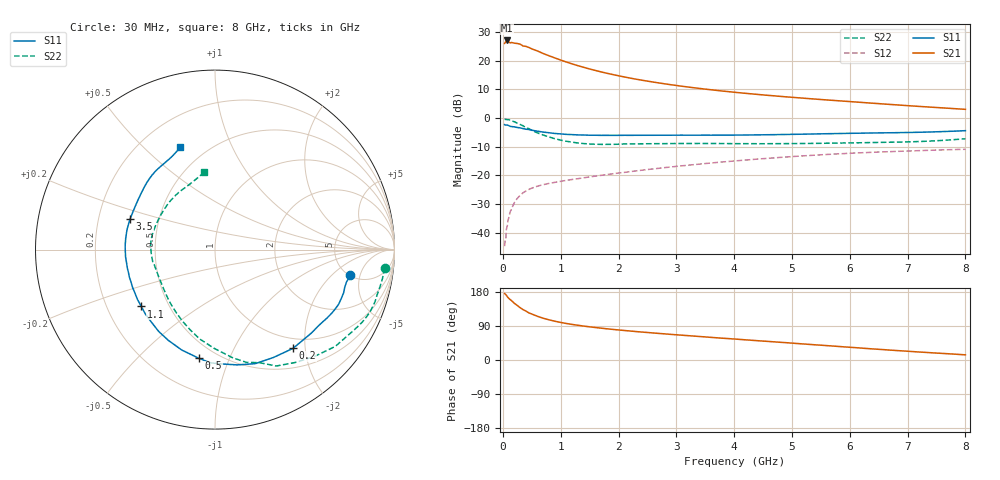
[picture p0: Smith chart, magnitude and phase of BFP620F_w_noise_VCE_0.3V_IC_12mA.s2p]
! Infineon Technologies  Discrete & RF Semiconductors
! BFP620F
! VCE =  0.3 V,  IC =  12 mA
! Common Emitter S-Parameters:  Dec 2014
# GHz  S  MA  R  50
!  f  S11  S21  S12  S22
! GHz  MAG  ANG  MAG  ANG  MAG  ANG  MAG  ANG
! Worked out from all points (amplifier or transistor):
!   95 points, 30 MHz to 8 GHz, reference 50 ohm
!   highest |S21| = 27.1 dB at 70 MHz (marker M1)
!   |S21| within 3 dB of that: start of sweep to 508.1 MHz
!   unconditionally stable (mu >= 1): 3.294 GHz to end of sweep
!   at 300 MHz: K = 0.15, MSG = 26.4 dB, |S12| = -27.0 dB
!   at 3.3 GHz: K = 1.00, MAG = 13.3 dB, |S12| = -16.3 dB
!   at 8 GHz: K = 1.10, MAG = 5.0 dB, |S12| = -10.9 dB
!   lowest NFmin = 0.64 dB at 450 MHz
!   S11 on the Smith chart (normalised r, x): 30 MHz: 5.06, -3.55; 200 MHz: 0.82, -1.77; 500 MHz: 0.40, -0.78; 1.1 GHz: 0.35, -0.30; 3.5 GHz: 0.34, +0.15; 8 GHz: 0.36, +0.65
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0.03  0.7679 -10.8  20.1 175.2  0.0058 84.9  0.9514 -6.2
0.05  0.7527 -16.2  21.64 172.7  0.0074 79.4  0.9463 -10.2
0.07  0.7545 -21.1  22.62 168.6  0.0124 77.5  0.9404 -13.9
0.09  0.7467 -26.4  22.17 164.7  0.0168 79.3  0.9378 -17.9
0.12  0.7216 -34.2  20.73 160.2  0.0216 76.1  0.9226 -24.2
0.15  0.7101 -41.0  20.87 156.6  0.0262 71.9  0.8963 -29.8
0.2  0.7012 -51.7  20.28 149.5  0.0335 67.4  0.8604 -38.8
0.3  0.6739 -70.6  19.5 137.8  0.0449 59.6  0.771 -54.7
0.35  0.6541 -79.1  18.09 132.9  0.0496 56.8  0.7331 -62.2
0.45  0.6313 -92.2  17.07 124.3  0.0567 51.9  0.6531 -74.3
0.5  0.6124 -98.4  16.13 121.3  0.0598 50.1  0.6109 -80.7
0.7  0.5686 -117.2  13.34 110.1  0.0688 45.3  0.5048 -99.8
0.8  0.5535 -124.5  12.21 105.9  0.0724 44.5  0.4666 -107.5
1.1  0.5186 -142.4  9.491 96.3  0.0817 42.9  0.3932 -128.0
1.4  0.5055 -155.2  7.677 89.5  0.0906 42.9  0.3584 -143.8
2  0.4986 -173.1  5.475 79.3  0.1099 43.1  0.3491 -166.3
2.7  0.5014 172.9  4.098 70.1  0.1328 42.1  0.357 179.7
3.5  0.5029 160.4  3.2 60.9  0.1606 39.7  0.3594 168.5
4.1  0.505 152.3  2.761 54.3  0.1815 36.9  0.357 160.4
5.4  0.528 137.5  2.144 40.1  0.2251 28.9  0.3616 140.9
6.7  0.5536 123.1  1.728 26.1  0.2593 19.4  0.3785 120.8
8  0.6023 108.9  1.42 13.6  0.285 10.1  0.4347 98.2
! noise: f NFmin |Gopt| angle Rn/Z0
0.45  0.64  0.22  8  0.21
0.9  0.71  0.2  19  0.18
1.5  0.76  0.19  21  0.13
1.8  0.79  0.19  23  0.11
1.9  0.8  0.14  38  0.14
2.4  0.84  0.12  53  0.12
3.5  0.93  0.11  76  0.12
5.5  1.1  0.1  193  0.09
6  1.14  0.1  221  0.14
